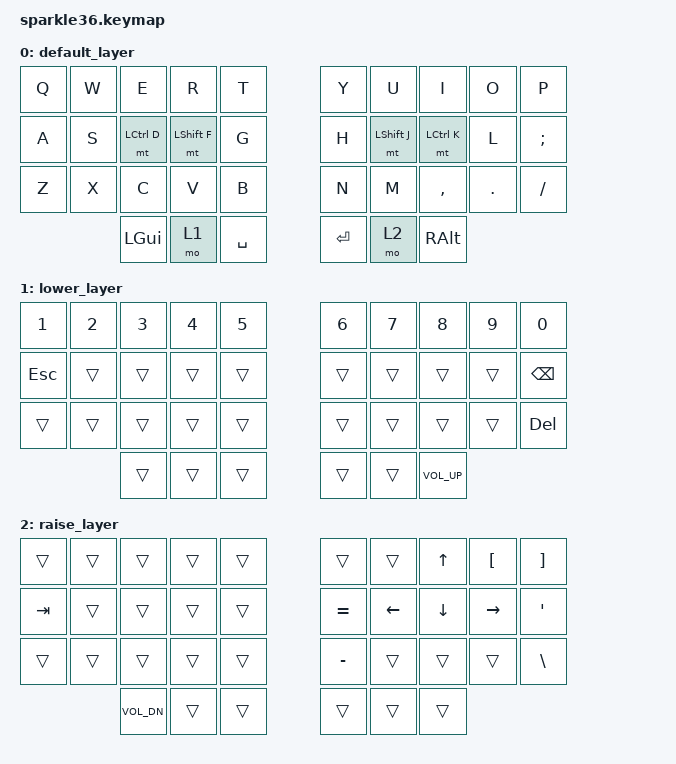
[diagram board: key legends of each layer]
// This file was generated from a template. Edit it to match your keyboard.
// See https://zmk.dev/docs/development/hardware-integration/new-shield for more instructions.

#include <behaviors.dtsi>
#include <dt-bindings/zmk/keys.h>

/ {
    // Define a default keymap here.
    // See https://zmk.dev/docs/development/hardware-integration/new-shield#default-keymap.
    
    behaviors {
        mt: mod_tap {
            compatible = "zmk,behavior-hold-tap";
            #binding-cells = <2>;
            flavor = "balanced";
            tapping-term-ms = <280>;
            //bindings = <&kp>, <&kp>;
            //display-name = "Mod-Tap";
        };
    };

    keymap {
        compatible = "zmk,keymap";

        default_layer {
            bindings = <
                &kp Q &kp W &kp E           &kp R        &kp T           &kp Y   &kp U         &kp I            &kp O   &kp P   
                &kp A &kp S &mt LCTRL D     &mt LSHIFT F &kp G           &kp H   &mt LSHIFT J  &mt LCTRL K      &kp L   &kp SEMI
                &kp Z &kp X &kp C           &kp V        &kp B           &kp N   &kp M         &kp COMMA        &kp DOT &kp FSLH
                            &kp LGUI        &mo 1        &kp SPACE       &kp RET &mo 2         &kp RALT
            >;
        };
        lower_layer {
            bindings = <
                &kp N1   &kp N2  &kp N3    &kp N4  &kp N5         &kp N6  &kp N7   &kp N8   &kp N9  &kp N0   
                &kp ESC  &trans  &trans    &trans  &trans         &trans  &trans   &trans   &trans  &kp BSPC
                &trans   &trans  &trans    &trans  &trans         &trans  &trans   &trans   &trans  &kp DEL
                                 &trans    &trans  &trans         &trans  &trans   &kp C_VOL_UP   
            >;        
        };
        raise_layer {
            bindings = <
                &trans    &trans  &trans          &trans  &trans         &trans     &trans    &kp UP    &kp LBKT   &kp RBKT   
                &kp TAB   &trans  &trans          &trans  &trans         &kp EQUAL  &kp LEFT  &kp DOWN  &kp RIGHT  &kp SQT
                &trans    &trans  &trans          &trans  &trans         &kp MINUS  &trans    &trans    &trans     &kp BSLH
                                  &kp C_VOL_DN  &trans  &trans         &trans     &trans    &trans     
            >;        
        };
    };
};
